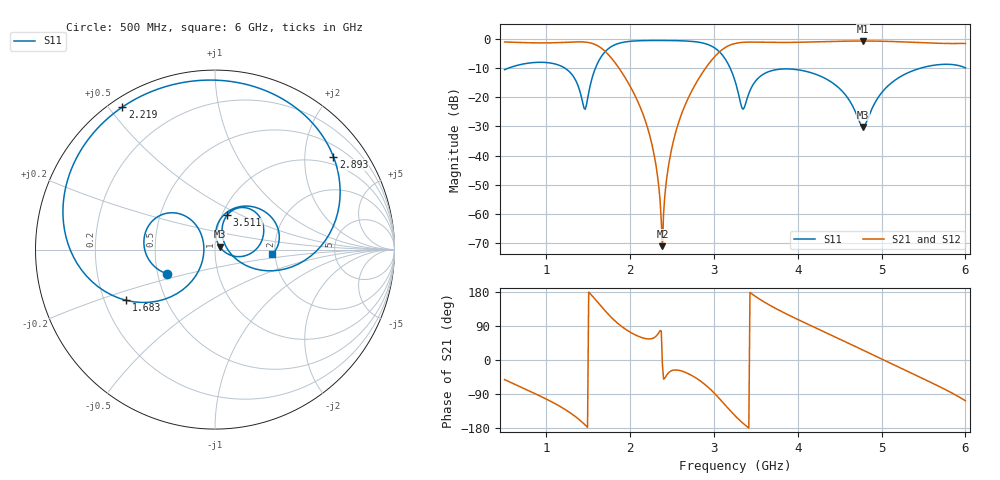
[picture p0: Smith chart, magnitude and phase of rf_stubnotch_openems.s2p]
! kicad2openems openEMS FDTD (rf_stubnotch)
! ports: 1=P1, 2=P2
# Hz S RI R 50
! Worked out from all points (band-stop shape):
!   401 points, 500 MHz to 6 GHz, reference 50 ohm
!   highest |S21| = -0.65 dB at 4.776 GHz (marker M1); lowest = -71.1 dB at 2.384 GHz (marker M2)
!   |S21| within 3 dB of the highest: start of sweep to 1.678 GHz; 3.096 GHz to end of sweep
!   lowest |S11| = -30.1 dB at 4.776 GHz (marker M3), VSWR 1.06, Z = 52.7 + j1.72 ohm
!   |S11| at or under -10 dB: start of sweep to 542 MHz; 1.222 GHz to 1.584 GHz (362.2 MHz wide, 25.8 % of centre); 3.193 GHz to 5.461 GHz (2.268 GHz wide, 52.4 % of centre)
!   |S22| runs from - to - dB; largest |S21 - S12| = 0
!   S11 on the Smith chart (normalised r, x): 500 MHz: 0.56, -0.17; 1.683 GHz: 0.29, -0.24; 2.219 GHz: 0.04, +0.54; 2.893 GHz: 0.77, +2.70; 3.511 GHz: 1.06, +0.42; 6 GHz: 1.94, -0.10
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5e8  -0.2671 -0.1342  0.5533 -0.7019  0.5533 -0.7019  0 0
1.14625e9  -0.3019 0.1921  -0.4435 -0.7508  -0.4435 -0.7508  0 0
1.42125e9  -0.07 0.0639  -0.8587 -0.2588  -0.8587 -0.2588  0 0
1.47625e9  -0.0645 -0.0348  -0.8811 -0.0823  -0.8811 -0.0823  0 0
1.6825e9  -0.4944 -0.2829  -0.4533 0.4657  -0.4533 0.4657  0 0
1.9025e9  -0.8472 0.2193  0.0111 0.2634  0.0111 0.2634  0 0
2.21875e9  -0.5167 0.7937  0.0148 0.0215  0.0148 0.0215  0 0
2.3425e9  -0.3141 0.8956  0.000798 0.00263  0.000798 0.00263  0 0
2.38375e9  -0.2427 0.9171  0.000271 -5.83e-05  0.000271 -5.83e-05  0 0
2.46625e9  -0.0949 0.9417  0.00688 -0.00427  0.00688 -0.00427  0 0
2.54875e9  0.0588 0.9402  0.0245 -0.0121  0.0245 -0.0121  0 0
2.8925e9  0.6599 0.5175  0.1307 -0.2791  0.1307 -0.2791  0 0
3.09875e9  0.5316 -0.0377  -0.2302 -0.6214  -0.2302 -0.6214  0 0
3.25e9  0.1706 -0.0873  -0.7058 -0.4592  -0.7058 -0.4592  0 0
3.34625e9  0.0563 0.027  -0.8595 -0.1973  -0.8595 -0.1973  0 0
3.51125e9  0.0672 0.191  -0.8587 0.2266  -0.8587 0.2266  0 0
4.17125e9  0.2578 0.0431  0.015 0.8939  0.015 0.8939  0 0
4.52875e9  0.122 -0.039  0.5656 0.7266  0.5656 0.7266  0 0
4.77625e9  0.0265 0.0163  0.8329 0.4101  0.8329 0.4101  0 0
5.0925e9  0.0257 0.1633  0.9069 -0.1129  0.9069 -0.1129  0 0
5.57375e9  0.2707 0.2157  0.4594 -0.7254  0.4594 -0.7254  0 0
6e9  0.3196 -0.0242  -0.2552 -0.8053  -0.2552 -0.8053  0 0
